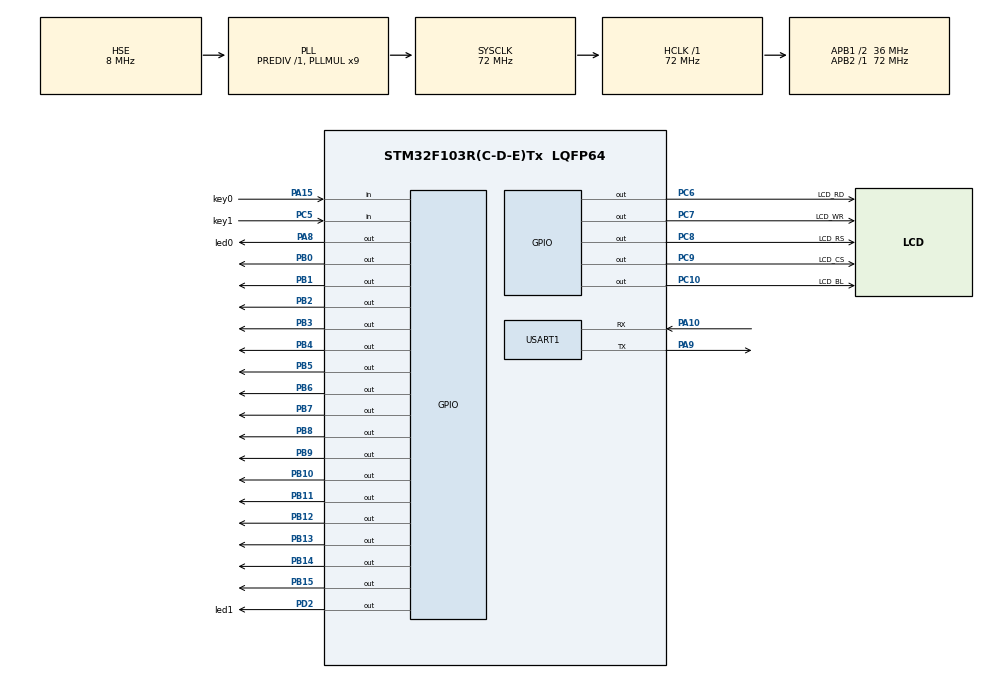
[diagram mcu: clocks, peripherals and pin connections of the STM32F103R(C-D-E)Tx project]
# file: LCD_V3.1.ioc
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Dma.Request0=USART1_RX
Dma.Request1=USART1_TX
Dma.USART1_RX.0.Direction=DMA_PERIPH_TO_MEMORY
Dma.USART1_RX.0.Instance=DMA1_Channel5
Dma.USART1_RX.0.MemDataAlignment=DMA_MDATAALIGN_BYTE
Dma.USART1_RX.0.MemInc=DMA_MINC_ENABLE
Dma.USART1_RX.0.Mode=DMA_NORMAL
Dma.USART1_RX.0.PeriphDataAlignment=DMA_PDATAALIGN_BYTE
Dma.USART1_RX.0.PeriphInc=DMA_PINC_DISABLE
Dma.USART1_RX.0.Priority=DMA_PRIORITY_LOW
Dma.USART1_TX.1.Direction=DMA_MEMORY_TO_PERIPH
Dma.USART1_TX.1.Instance=DMA1_Channel4
Dma.USART1_TX.1.MemDataAlignment=DMA_MDATAALIGN_BYTE
Dma.USART1_TX.1.MemInc=DMA_MINC_ENABLE
Dma.USART1_TX.1.Mode=DMA_NORMAL
Dma.USART1_TX.1.PeriphDataAlignment=DMA_PDATAALIGN_BYTE
Dma.USART1_TX.1.PeriphInc=DMA_PINC_DISABLE
Dma.USART1_TX.1.Priority=DMA_PRIORITY_LOW
Mcu.Family=STM32F1
Mcu.Name=STM32F103R(C-D-E)Tx
Mcu.Package=LQFP64
NVIC.DMA1_Channel4_IRQn=true\:0\:0\:false\:false\:true\:false\:true\:true
NVIC.DMA1_Channel5_IRQn=true\:0\:0\:false\:false\:true\:false\:true\:true
NVIC.PriorityGroup=NVIC_PRIORITYGROUP_4
NVIC.USART1_IRQn=true\:1\:0\:true\:false\:true\:true\:true\:true
PA10.Mode=Asynchronous
PA10.Signal=USART1_RX
PA13.Mode=Serial_Wire
PA13.Signal=SYS_JTMS-SWDIO
PA14.Mode=Serial_Wire
PA14.Signal=SYS_JTCK-SWCLK
PA15.GPIO_Label=key0
PA15.GPIO_PuPd=GPIO_NOPULL
PA15.Signal=GPIO_Input
PA8.GPIO_Label=led0
PA8.GPIO_PuPd=GPIO_PULLUP
PA8.GPIO_Speed=GPIO_SPEED_FREQ_MEDIUM
PA8.Signal=GPIO_Output
PA9.Mode=Asynchronous
PA9.Signal=USART1_TX
PB0.Signal=GPIO_Output
PB1.GPIO_PuPd=GPIO_PULLUP
PB1.GPIO_Speed=GPIO_SPEED_FREQ_HIGH
PB1.Signal=GPIO_Output
PB10.GPIO_PuPd=GPIO_PULLUP
PB10.GPIO_Speed=GPIO_SPEED_FREQ_HIGH
PB10.Signal=GPIO_Output
PB11.GPIO_PuPd=GPIO_PULLUP
PB11.GPIO_Speed=GPIO_SPEED_FREQ_HIGH
PB11.Signal=GPIO_Output
PB12.GPIO_PuPd=GPIO_PULLUP
PB12.GPIO_Speed=GPIO_SPEED_FREQ_HIGH
PB12.Signal=GPIO_Output
PB13.GPIO_PuPd=GPIO_PULLUP
PB13.GPIO_Speed=GPIO_SPEED_FREQ_HIGH
PB13.Signal=GPIO_Output
PB14.GPIO_PuPd=GPIO_PULLUP
PB14.GPIO_Speed=GPIO_SPEED_FREQ_HIGH
PB14.Signal=GPIO_Output
PB15.GPIO_PuPd=GPIO_PULLUP
PB15.GPIO_Speed=GPIO_SPEED_FREQ_HIGH
PB15.Signal=GPIO_Output
PB2.GPIO_PuPd=GPIO_PULLUP
PB2.GPIO_Speed=GPIO_SPEED_FREQ_HIGH
PB2.Signal=GPIO_Output
PB3.GPIO_PuPd=GPIO_PULLUP
PB3.GPIO_Speed=GPIO_SPEED_FREQ_HIGH
PB3.Signal=GPIO_Output
PB4.GPIO_PuPd=GPIO_PULLUP
PB4.GPIO_Speed=GPIO_SPEED_FREQ_HIGH
PB4.Signal=GPIO_Output
PB5.GPIO_PuPd=GPIO_PULLUP
PB5.GPIO_Speed=GPIO_SPEED_FREQ_HIGH
PB5.Signal=GPIO_Output
PB6.GPIO_PuPd=GPIO_PULLUP
PB6.GPIO_Speed=GPIO_SPEED_FREQ_HIGH
PB6.Signal=GPIO_Output
PB7.GPIO_PuPd=GPIO_PULLUP
PB7.GPIO_Speed=GPIO_SPEED_FREQ_HIGH
PB7.Signal=GPIO_Output
PB8.GPIO_PuPd=GPIO_PULLDOWN
PB8.GPIO_Speed=GPIO_SPEED_FREQ_HIGH
PB8.Signal=GPIO_Output
PB9.GPIO_PuPd=GPIO_PULLUP
PB9.GPIO_Speed=GPIO_SPEED_FREQ_HIGH
PB9.Signal=GPIO_Output
PC10.GPIO_Label=LCD_BL
PC10.GPIO_PuPd=GPIO_PULLUP
PC10.GPIO_Speed=GPIO_SPEED_FREQ_HIGH
PC10.Signal=GPIO_Output
PC14-OSC32_IN.Mode=LSE-External-Oscillator
PC14-OSC32_IN.Signal=RCC_OSC32_IN
PC15-OSC32_OUT.Mode=LSE-External-Oscillator
PC15-OSC32_OUT.Signal=RCC_OSC32_OUT
PC5.GPIO_Label=key1
PC5.GPIO_PuPd=GPIO_NOPULL
PC5.Signal=GPIO_Input
PC6.GPIO_Label=LCD_RD
PC6.GPIO_PuPd=GPIO_PULLUP
PC6.GPIO_Speed=GPIO_SPEED_FREQ_HIGH
PC6.Signal=GPIO_Output
PC7.GPIO_Label=LCD_WR
PC7.GPIO_PuPd=GPIO_PULLUP
PC7.GPIO_Speed=GPIO_SPEED_FREQ_HIGH
PC7.Signal=GPIO_Output
PC8.GPIO_Label=LCD_RS
PC8.GPIO_PuPd=GPIO_PULLUP
PC8.GPIO_Speed=GPIO_SPEED_FREQ_HIGH
PC8.Signal=GPIO_Output
PC9.GPIO_Label=LCD_CS
PC9.GPIO_PuPd=GPIO_PULLUP
PC9.GPIO_Speed=GPIO_SPEED_FREQ_HIGH
PC9.Signal=GPIO_Output
PD0-OSC_IN.Mode=HSE-External-Oscillator
PD0-OSC_IN.Signal=RCC_OSC_IN
PD1-OSC_OUT.Mode=HSE-External-Oscillator
PD1-OSC_OUT.Signal=RCC_OSC_OUT
PD2.GPIO_Label=led1
PD2.GPIO_PuPd=GPIO_PULLUP
PD2.GPIO_Speed=GPIO_SPEED_FREQ_MEDIUM
PD2.Signal=GPIO_Output
ProjectManager.HeapSize=0x200
ProjectManager.StackSize=0x400
ProjectManager.TargetToolchain=MDK-ARM V5.32
RCC.AHBFreq_Value=72000000
RCC.APB1CLKDivider=RCC_HCLK_DIV2
RCC.APB1Freq_Value=36000000
RCC.APB1TimFreq_Value=72000000
RCC.APB2Freq_Value=72000000
RCC.APB2TimFreq_Value=72000000
RCC.HCLKFreq_Value=72000000
RCC.PLLMUL=RCC_PLL_MUL9
RCC.PLLSourceVirtual=RCC_PLLSOURCE_HSE
RCC.SYSCLKFreq_VALUE=72000000
RCC.SYSCLKSource=RCC_SYSCLKSOURCE_PLLCLK
RCC.USBFreq_Value=72000000
USART1.VirtualMode=VM_ASYNC
board=custom

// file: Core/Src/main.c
/* USER CODE BEGIN Header */
/**
  ******************************************************************************
  * @file           : main.c
  * @brief          : Main program body
  ******************************************************************************
  * @attention
  *
  * Copyright (c) 2022 STMicroelectronics.
  * All rights reserved.
  *
  * This software is licensed under terms that can be found in the LICENSE file
  * in the root directory of this software component.
  * If no LICENSE file comes with this software, it is provided AS-IS.
  *
  ******************************************************************************
  */
/* USER CODE END Header */
#include "main.h"
#include "dma.h"
#include "usart.h"
#include "gpio.h"

/* USER CODE BEGIN Includes */
#include "key_led.h"
#include "lcd.h"
#include "stdio.h"
/* USER CODE END Includes */

/* USER CODE BEGIN PV */
uint8_t Recceive_buffer[8]="";//定义接收数组,6为字符大小上限
uint8_t lcd_id[12];						//存放LCD ID字符串
char Output_buffer[16];						//存放输出LCD ID字符串
/* USER CODE END PV */

void SystemClock_Config(void);

/* USER CODE BEGIN 0 */
//串口接收回调函数
// void HAL_UART_RxCpltCallback(UART_HandleTypeDef *huart){
//   HAL_UART_Transmit_DMA(&huart1,Recceive_buffer,8);
//   HAL_UART_Receive_DMA(&huart1,Recceive_buffer,8);
// }

/* USER CODE END 0 */

int main(void)
{

  /* MCU Configuration--------------------------------------------------------*/

  /* Reset of all peripherals, Initializes the Flash interface and the Systick. */
  HAL_Init();

  /* Configure the system clock */
  SystemClock_Config();

  /* Initialize all configured peripherals */
  MX_GPIO_Init();
  MX_DMA_Init();
  MX_USART1_UART_Init();
  /* USER CODE BEGIN 2 */
  __HAL_UART_ENABLE_IT(&huart1,UART_IT_IDLE);//串口空闲中断启用
	lcd_init();
  lcd_display_dir(1);

	lcd_clear(BLACK);
	g_back_color=BLACK;

  /* USER CODE END 2 */

  /* Infinite loop */
  while (1)
  {

    /* USER CODE BEGIN 3 */

    //key2led(2000);

    sprintf((char *)Output_buffer,"receive:%s",Recceive_buffer);//将LCD ID打印到lcd_id数组。

		lcd_draw_rectangle(20,30,220,150,WHITE);
		g_back_color=LIGHTGREEN;
		lcd_show_string(30,40,200,24,16,"I am piece of shit",WHITE);
		g_back_color=BLACK;
		lcd_show_string(30,70,200,16,16,"TFTLCD V3.0 TEST",WHITE);

		lcd_show_string(30,90,200,16,16,"Made By CJC",RED);
 		lcd_show_string(30,110,200,16,16,Output_buffer,RED);		//显示串口输入
		lcd_show_string(30,130,200,12,12,"2023/1/7",BLUE);

		HAL_Delay(500);
  }
  /* USER CODE END 3 */
}

void SystemClock_Config(void)
{
  RCC_OscInitTypeDef RCC_OscInitStruct = {0};
  RCC_ClkInitTypeDef RCC_ClkInitStruct = {0};

  /** Initializes the RCC Oscillators according to the specified parameters
  * in the RCC_OscInitTypeDef structure.
  */
  RCC_OscInitStruct.OscillatorType = RCC_OSCILLATORTYPE_HSE;
  RCC_OscInitStruct.HSEState = RCC_HSE_ON;
  RCC_OscInitStruct.HSEPredivValue = RCC_HSE_PREDIV_DIV1;
  RCC_OscInitStruct.HSIState = RCC_HSI_ON;
  RCC_OscInitStruct.PLL.PLLState = RCC_PLL_ON;
  RCC_OscInitStruct.PLL.PLLSource = RCC_PLLSOURCE_HSE;
  RCC_OscInitStruct.PLL.PLLMUL = RCC_PLL_MUL9;
  if (HAL_RCC_OscConfig(&RCC_OscInitStruct) != HAL_OK)
  {
    Error_Handler();
  }

  /** Initializes the CPU, AHB and APB buses clocks
  */
  RCC_ClkInitStruct.ClockType = RCC_CLOCKTYPE_HCLK|RCC_CLOCKTYPE_SYSCLK
                              |RCC_CLOCKTYPE_PCLK1|RCC_CLOCKTYPE_PCLK2;
  RCC_ClkInitStruct.SYSCLKSource = RCC_SYSCLKSOURCE_PLLCLK;
  RCC_ClkInitStruct.AHBCLKDivider = RCC_SYSCLK_DIV1;
  RCC_ClkInitStruct.APB1CLKDivider = RCC_HCLK_DIV2;
  RCC_ClkInitStruct.APB2CLKDivider = RCC_HCLK_DIV1;

  if (HAL_RCC_ClockConfig(&RCC_ClkInitStruct, FLASH_LATENCY_2) != HAL_OK)
  {
    Error_Handler();
  }
}

void Error_Handler(void)
{
  __disable_irq();
  while (1)
  {
  }
}
